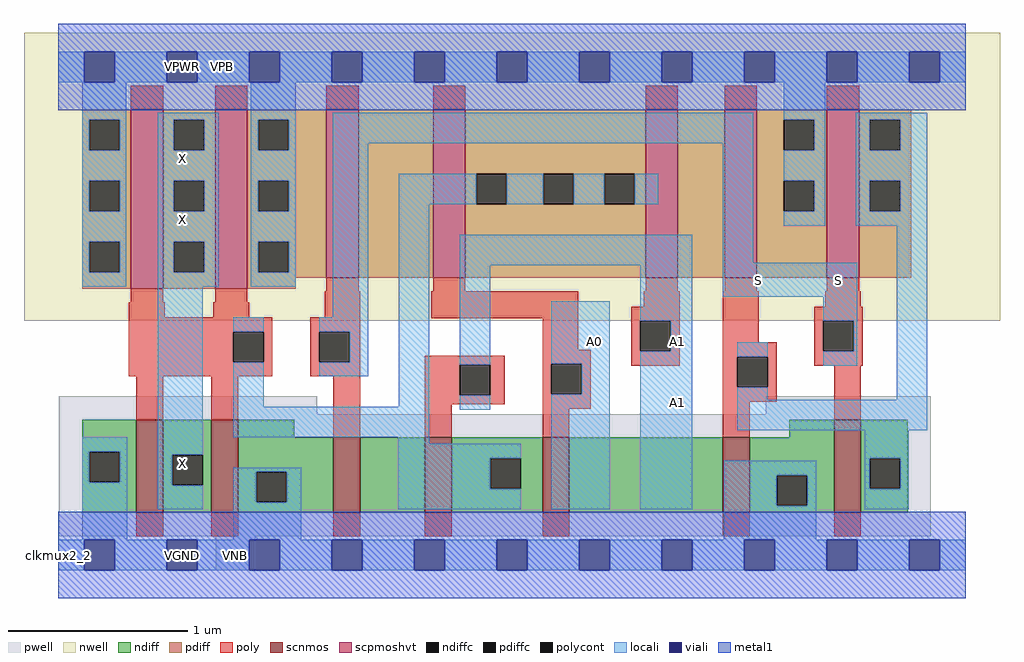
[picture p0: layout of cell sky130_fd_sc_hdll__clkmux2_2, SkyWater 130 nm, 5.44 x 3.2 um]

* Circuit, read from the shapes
.subckt sky130_fd_sc_hdll__clkmux2_2 A0 A1 S VGND VNB VPB VPWR X
XM1 X n1 VGND VNB sky130_fd_pr__nfet_01v8 w=0.52 l=0.15 m=2
XM2 n2 S VGND VNB sky130_fd_pr__nfet_01v8 w=0.42 l=0.15
XM3 n1 A1 n2 VNB sky130_fd_pr__nfet_01v8 w=0.42 l=0.15
XM4 n3 A0 n1 VNB sky130_fd_pr__nfet_01v8 w=0.42 l=0.15
XM5 VGND n4 n3 VNB sky130_fd_pr__nfet_01v8 w=0.42 l=0.15
XM6 n4 S VGND VNB sky130_fd_pr__nfet_01v8 w=0.52 l=0.15
XM7 X n1 VPWR VPB sky130_fd_pr__pfet_01v8_hvt w=1 l=0.18 m=2
XM8 n5 S VPWR VPB sky130_fd_pr__pfet_01v8_hvt w=0.94 l=0.18
XM9 n1 A0 n5 VPB sky130_fd_pr__pfet_01v8_hvt w=0.94 l=0.18
XM10 n6 A1 n1 VPB sky130_fd_pr__pfet_01v8_hvt w=0.94 l=0.18
XM11 VPWR n4 n6 VPB sky130_fd_pr__pfet_01v8_hvt w=0.94 l=0.18
XM12 n4 S VPWR VPB sky130_fd_pr__pfet_01v8_hvt w=0.94 l=0.18
.ends

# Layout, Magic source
magic
tech sky130A
magscale 1 2
<< nwell >>
rect -38 261 1050 582
<< pwell >>
rect 1 157 289 177
rect 789 157 973 177
rect 1 21 973 157
rect 176 -17 220 21
<< scnmos >>
rect 87 47 117 151
rect 171 47 201 151
rect 307 47 337 131
rect 409 47 439 131
rect 540 47 570 131
rect 741 47 771 131
rect 865 47 895 151
<< scpmoshvt >>
rect 81 297 117 497
rect 175 297 211 497
rect 299 309 335 497
rect 418 309 454 497
rect 655 309 691 497
rect 743 309 779 497
rect 857 309 893 497
<< ndiff >>
rect 27 115 87 151
rect 27 81 35 115
rect 69 81 87 115
rect 27 47 87 81
rect 117 112 171 151
rect 117 78 127 112
rect 161 78 171 112
rect 117 47 171 78
rect 201 131 263 151
rect 815 131 865 151
rect 201 93 307 131
rect 201 59 221 93
rect 255 59 307 93
rect 201 47 307 59
rect 337 47 409 131
rect 439 108 540 131
rect 439 74 482 108
rect 516 74 540 108
rect 439 47 540 74
rect 570 47 741 131
rect 771 89 865 131
rect 771 55 801 89
rect 835 55 865 89
rect 771 47 865 55
rect 895 108 947 151
rect 895 74 905 108
rect 939 74 947 108
rect 895 47 947 74
<< pdiff >>
rect 27 485 81 497
rect 27 451 35 485
rect 69 451 81 485
rect 27 417 81 451
rect 27 383 35 417
rect 69 383 81 417
rect 27 349 81 383
rect 27 315 35 349
rect 69 315 81 349
rect 27 297 81 315
rect 117 485 175 497
rect 117 451 129 485
rect 163 451 175 485
rect 117 417 175 451
rect 117 383 129 417
rect 163 383 175 417
rect 117 349 175 383
rect 117 315 129 349
rect 163 315 175 349
rect 117 297 175 315
rect 211 485 299 497
rect 211 451 223 485
rect 257 451 299 485
rect 211 417 299 451
rect 211 383 223 417
rect 257 383 299 417
rect 211 349 299 383
rect 211 315 223 349
rect 257 315 299 349
rect 211 309 299 315
rect 335 309 418 497
rect 454 425 655 497
rect 454 391 466 425
rect 500 391 541 425
rect 575 391 609 425
rect 643 391 655 425
rect 454 309 655 391
rect 691 309 743 497
rect 779 485 857 497
rect 779 451 809 485
rect 843 451 857 485
rect 779 417 857 451
rect 779 383 809 417
rect 843 383 857 417
rect 779 309 857 383
rect 893 485 951 497
rect 893 451 905 485
rect 939 451 951 485
rect 893 417 951 451
rect 893 383 905 417
rect 939 383 951 417
rect 893 309 951 383
rect 211 297 265 309
<< ndiffc >>
rect 35 81 69 115
rect 127 78 161 112
rect 221 59 255 93
rect 482 74 516 108
rect 801 55 835 89
rect 905 74 939 108
<< pdiffc >>
rect 35 451 69 485
rect 35 383 69 417
rect 35 315 69 349
rect 129 451 163 485
rect 129 383 163 417
rect 129 315 163 349
rect 223 451 257 485
rect 223 383 257 417
rect 223 315 257 349
rect 466 391 500 425
rect 541 391 575 425
rect 609 391 643 425
rect 809 451 843 485
rect 809 383 843 417
rect 905 451 939 485
rect 905 383 939 417
<< poly >>
rect 81 497 117 523
rect 175 497 211 523
rect 299 497 335 523
rect 418 497 454 523
rect 655 497 691 523
rect 743 497 779 523
rect 857 497 893 523
rect 81 282 117 297
rect 175 282 211 297
rect 299 294 335 309
rect 418 294 454 309
rect 655 294 691 309
rect 743 294 779 309
rect 857 294 893 309
rect 79 265 119 282
rect 173 265 213 282
rect 297 265 337 294
rect 79 249 239 265
rect 79 215 195 249
rect 229 215 239 249
rect 79 199 239 215
rect 281 249 337 265
rect 416 264 580 294
rect 653 277 693 294
rect 281 215 291 249
rect 325 215 337 249
rect 540 229 580 264
rect 639 261 693 277
rect 281 199 337 215
rect 87 151 117 199
rect 171 151 201 199
rect 307 131 337 199
rect 409 212 498 222
rect 409 178 448 212
rect 482 178 498 212
rect 409 168 498 178
rect 540 213 594 229
rect 540 179 550 213
rect 584 179 594 213
rect 639 227 649 261
rect 683 227 693 261
rect 639 211 693 227
rect 741 237 781 294
rect 855 277 895 294
rect 843 261 897 277
rect 741 221 801 237
rect 409 131 439 168
rect 540 163 594 179
rect 741 187 757 221
rect 791 187 801 221
rect 843 227 853 261
rect 887 227 897 261
rect 843 211 897 227
rect 741 171 801 187
rect 540 131 570 163
rect 741 131 771 171
rect 865 151 895 211
rect 87 21 117 47
rect 171 21 201 47
rect 307 21 337 47
rect 409 21 439 47
rect 540 21 570 47
rect 741 21 771 47
rect 865 21 895 47
<< polycont >>
rect 195 215 229 249
rect 291 215 325 249
rect 448 178 482 212
rect 550 179 584 213
rect 649 227 683 261
rect 757 187 791 221
rect 853 227 887 261
<< locali >>
rect 0 527 29 561
rect 63 527 121 561
rect 155 527 213 561
rect 247 527 305 561
rect 339 527 397 561
rect 431 527 489 561
rect 523 527 581 561
rect 615 527 673 561
rect 707 527 765 561
rect 799 527 857 561
rect 891 527 949 561
rect 983 527 1012 561
rect 27 485 76 527
rect 27 451 35 485
rect 69 451 76 485
rect 27 417 76 451
rect 27 383 35 417
rect 69 383 76 417
rect 27 349 76 383
rect 27 315 35 349
rect 69 315 76 349
rect 27 299 76 315
rect 111 485 179 493
rect 111 451 129 485
rect 163 451 179 485
rect 111 417 179 451
rect 111 383 129 417
rect 163 383 179 417
rect 111 349 179 383
rect 111 315 129 349
rect 163 315 179 349
rect 111 299 179 315
rect 215 485 265 527
rect 215 451 223 485
rect 257 451 265 485
rect 215 417 265 451
rect 215 383 223 417
rect 257 383 265 417
rect 215 349 265 383
rect 215 315 223 349
rect 257 315 265 349
rect 215 299 265 315
rect 306 459 775 493
rect 27 115 77 131
rect 27 81 35 115
rect 69 81 77 115
rect 27 17 77 81
rect 111 112 161 299
rect 306 265 346 459
rect 195 249 229 265
rect 195 165 229 215
rect 291 249 346 265
rect 325 215 346 249
rect 291 199 346 215
rect 380 391 466 425
rect 500 391 541 425
rect 575 391 609 425
rect 643 391 669 425
rect 380 165 414 391
rect 195 131 414 165
rect 448 323 707 357
rect 448 212 482 323
rect 448 162 482 178
rect 550 213 615 283
rect 584 179 615 213
rect 111 78 127 112
rect 379 124 414 131
rect 379 108 516 124
rect 111 51 161 78
rect 195 93 271 97
rect 195 59 221 93
rect 255 59 271 93
rect 195 17 271 59
rect 379 74 482 108
rect 379 51 516 74
rect 550 51 615 179
rect 649 261 707 323
rect 741 326 775 459
rect 809 485 855 527
rect 843 451 855 485
rect 809 417 855 451
rect 843 383 855 417
rect 809 367 855 383
rect 889 485 969 493
rect 889 451 905 485
rect 939 451 969 485
rect 889 417 969 451
rect 889 383 905 417
rect 939 383 969 417
rect 889 367 969 383
rect 741 288 891 326
rect 683 227 707 261
rect 853 261 891 288
rect 649 51 707 227
rect 757 221 791 237
rect 887 227 891 261
rect 853 211 891 227
rect 757 173 791 187
rect 935 173 969 367
rect 757 139 969 173
rect 899 108 948 139
rect 742 89 845 105
rect 742 55 801 89
rect 835 55 845 89
rect 742 17 845 55
rect 899 74 905 108
rect 939 74 948 108
rect 899 51 948 74
rect 0 -17 29 17
rect 63 -17 121 17
rect 155 -17 213 17
rect 247 -17 305 17
rect 339 -17 397 17
rect 431 -17 489 17
rect 523 -17 581 17
rect 615 -17 673 17
rect 707 -17 765 17
rect 799 -17 857 17
rect 891 -17 949 17
rect 983 -17 1012 17
<< viali >>
rect 29 527 63 561
rect 121 527 155 561
rect 213 527 247 561
rect 305 527 339 561
rect 397 527 431 561
rect 489 527 523 561
rect 581 527 615 561
rect 673 527 707 561
rect 765 527 799 561
rect 857 527 891 561
rect 949 527 983 561
rect 29 -17 63 17
rect 121 -17 155 17
rect 213 -17 247 17
rect 305 -17 339 17
rect 397 -17 431 17
rect 489 -17 523 17
rect 581 -17 615 17
rect 673 -17 707 17
rect 765 -17 799 17
rect 857 -17 891 17
rect 949 -17 983 17
<< metal1 >>
rect 0 561 1012 592
rect 0 527 29 561
rect 63 527 121 561
rect 155 527 213 561
rect 247 527 305 561
rect 339 527 397 561
rect 431 527 489 561
rect 523 527 581 561
rect 615 527 673 561
rect 707 527 765 561
rect 799 527 857 561
rect 891 527 949 561
rect 983 527 1012 561
rect 0 496 1012 527
rect 0 17 1012 48
rect 0 -17 29 17
rect 63 -17 121 17
rect 155 -17 213 17
rect 247 -17 305 17
rect 339 -17 397 17
rect 431 -17 489 17
rect 523 -17 581 17
rect 615 -17 673 17
rect 707 -17 765 17
rect 799 -17 857 17
rect 891 -17 949 17
rect 983 -17 1012 17
rect 0 -48 1012 -17
<< labels >>
flabel metal1 s 122 -17 156 17 0 FreeSans 200 0 0 0 VGND
port 4 nsew ground bidirectional
flabel metal1 s 122 527 156 561 0 FreeSans 200 0 0 0 VPWR
port 7 nsew power bidirectional
flabel locali s 764 289 798 323 0 FreeSans 250 0 0 0 S
port 3 nsew signal input
flabel locali s 673 153 707 187 0 FreeSans 250 0 0 0 A1
port 2 nsew signal input
flabel locali s 673 221 707 255 0 FreeSans 250 0 0 0 A1
port 2 nsew signal input
flabel locali s 581 221 615 255 0 FreeSans 250 0 0 0 A0
port 1 nsew signal input
flabel locali s 122 85 156 119 0 FreeSans 250 0 0 0 X
port 8 nsew signal output
flabel locali s 122 357 156 391 0 FreeSans 250 0 0 0 X
port 8 nsew signal output
flabel locali s 122 425 156 459 0 FreeSans 250 0 0 0 X
port 8 nsew signal output
flabel locali s 853 289 887 323 0 FreeSans 250 0 0 0 S
port 3 nsew signal input
flabel nwell s 166 527 200 561 0 FreeSans 250 0 0 0 VPB
port 6 nsew power bidirectional
flabel pwell s 176 -17 220 17 0 FreeSans 250 0 0 0 VNB
port 5 nsew ground bidirectional
rlabel comment s 0 0 0 0 4 clkmux2_2
<< properties >>
string LEFsite unithd
string LEFclass CORE
string FIXED_BBOX 0 0 1012 544
string GDS_FILE $PDKPATH/libs.ref/sky130_fd_sc_hdll/gds/sky130_fd_sc_hdll.gds
string LEFsymmetry X Y R90
string GDS_END 1162264
string GDS_START 1154504
string LEFproperties maskLayoutSubType "abstract" prCellType "standard" originalViewName "layout"
<< end >>
